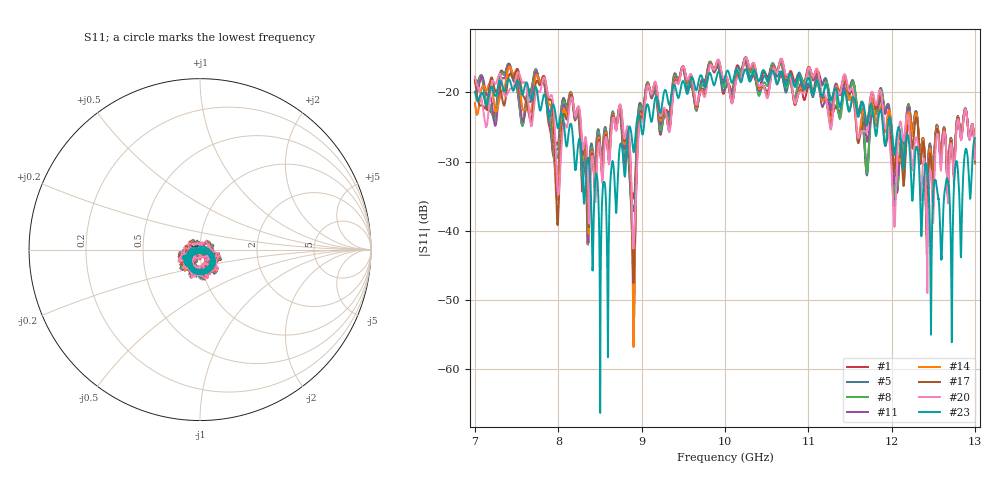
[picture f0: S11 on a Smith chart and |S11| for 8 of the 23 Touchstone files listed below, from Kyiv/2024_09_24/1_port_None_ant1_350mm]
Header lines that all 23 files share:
[Version] 2.0
! Rohde & Schwarz Vector Network Analyzer
! Rohde-Schwarz,ZNL20-2Port,1323001220200009,1.71.1.10-23.02.1.238
! Trace info:
! Nominal Param -> Actual Exported Buffer
! S11 -> S22
# Hz S DB R 50
[Number of Ports] 1
! freq[Hz]  S11[mag dB]  S11[ang]
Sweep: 7 GHz to 13 GHz
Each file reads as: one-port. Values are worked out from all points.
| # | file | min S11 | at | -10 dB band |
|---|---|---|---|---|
| 1 | 0.01.s1p | -41.9 dB | 8.352 GHz | over 6 GHz wide |
| 2 | 1.s1p | -41.7 dB | 8.352 GHz | over 6 GHz wide |
| 3 | 2.s1p | -41.8 dB | 8.352 GHz | over 6 GHz wide |
| 4 | 3.s1p | -41.8 dB | 8.352 GHz | over 6 GHz wide |
| 5 | 4.s1p | -40.8 dB | 8.352 GHz | over 6 GHz wide |
| 6 | 5.s1p | -41.2 dB | 8.354 GHz | over 6 GHz wide |
| 7 | 6.s1p | -41.8 dB | 8.355 GHz | over 6 GHz wide |
| 8 | 7.s1p | -42.0 dB | 8.357 GHz | over 6 GHz wide |
| 9 | 8.s1p | -45.5 dB | 8.911 GHz | over 6 GHz wide |
| 10 | 9.s1p | -48.8 dB | 8.911 GHz | over 6 GHz wide |
| 11 | 10.s1p | -52.4 dB | 8.91 GHz | over 6 GHz wide |
| 12 | 11.s1p | -58.4 dB | 8.909 GHz | over 6 GHz wide |
| 13 | 12.s1p | -63.5 dB | 8.904 GHz | over 6 GHz wide |
| 14 | 13.s1p | -56.8 dB | 8.902 GHz | over 6 GHz wide |
| 15 | 14.s1p | -52.9 dB | 8.902 GHz | over 6 GHz wide |
| 16 | 15.s1p | -50.5 dB | 8.901 GHz | over 6 GHz wide |
| 17 | 16.s1p | -47.5 dB | 8.902 GHz | over 6 GHz wide |
| 18 | 17.s1p | -46.4 dB | 8.901 GHz | over 6 GHz wide |
| 19 | 18.s1p | -51.2 dB | 12.42 GHz | over 6 GHz wide |
| 20 | 19.8.s1p | -49.0 dB | 12.43 GHz | over 6 GHz wide |
| 21 | 19.s1p | -66.2 dB | 12.43 GHz | over 6 GHz wide |
| 22 | metal.s1p | -39.3 dB | 7.99 GHz | over 6 GHz wide |
| 23 | noDUT.s1p | -66.3 dB | 8.502 GHz | over 6 GHz wide |
